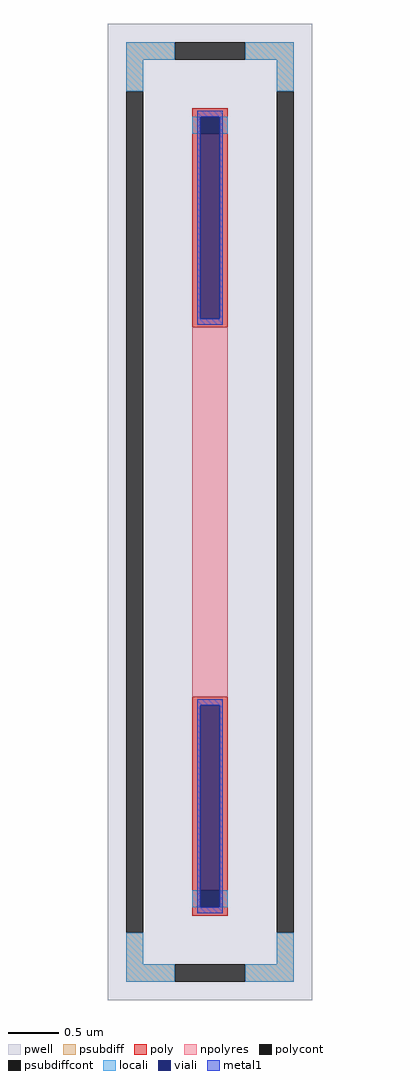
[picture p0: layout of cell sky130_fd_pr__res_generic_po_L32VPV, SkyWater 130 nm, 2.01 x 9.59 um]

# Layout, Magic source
magic
tech sky130A
magscale 1 2
<< pwell >>
rect -201 -959 201 959
<< psubdiff >>
rect -165 889 -69 923
rect 69 889 165 923
rect -165 827 -131 889
rect 131 827 165 889
rect -165 -889 -131 -827
rect 131 -889 165 -827
rect -165 -923 -69 -889
rect 69 -923 165 -889
<< psubdiffcont >>
rect -69 889 69 923
rect -165 -827 -131 827
rect 131 -827 165 827
rect -69 -923 69 -889
<< poly >>
rect -35 777 35 793
rect -35 743 -19 777
rect 19 743 35 777
rect -35 363 35 743
rect -35 -743 35 -363
rect -35 -777 -19 -743
rect 19 -777 35 -743
rect -35 -793 35 -777
<< polycont >>
rect -19 743 19 777
rect -19 -777 19 -743
<< npolyres >>
rect -35 -363 35 363
<< locali >>
rect -165 889 -69 923
rect 69 889 165 923
rect -165 827 -131 889
rect 131 827 165 889
rect -35 743 -19 777
rect 19 743 35 777
rect -35 -777 -19 -743
rect 19 -777 35 -743
rect -165 -889 -131 -827
rect 131 -889 165 -827
rect -165 -923 -69 -889
rect 69 -923 165 -889
<< viali >>
rect -19 743 19 777
rect -19 380 19 743
rect -19 -743 19 -380
rect -19 -777 19 -743
<< metal1 >>
rect -25 777 25 789
rect -25 380 -19 777
rect 19 380 25 777
rect -25 368 25 380
rect -25 -380 25 -368
rect -25 -777 -19 -380
rect 19 -777 25 -380
rect -25 -789 25 -777
<< properties >>
string FIXED_BBOX -148 -906 148 906
string gencell sky130_fd_pr__res_generic_po
string library sky130
string parameters w 0.35 l 3.631 m 1 nx 1 wmin 0.330 lmin 1.650 rho 48.2 val 500.04 dummy 0 dw 0.0 term 0.0 sterm 0.0 caplen 0.4 snake 0 guard 1 glc 1 grc 1 gtc 1 gbc 1 roverlap 0 endcov 100 full_metal 1 hv_guard 0 n_guard 0 vias 1 viagb 0 viagt 0 viagl 0 viagr 0
<< end >>
